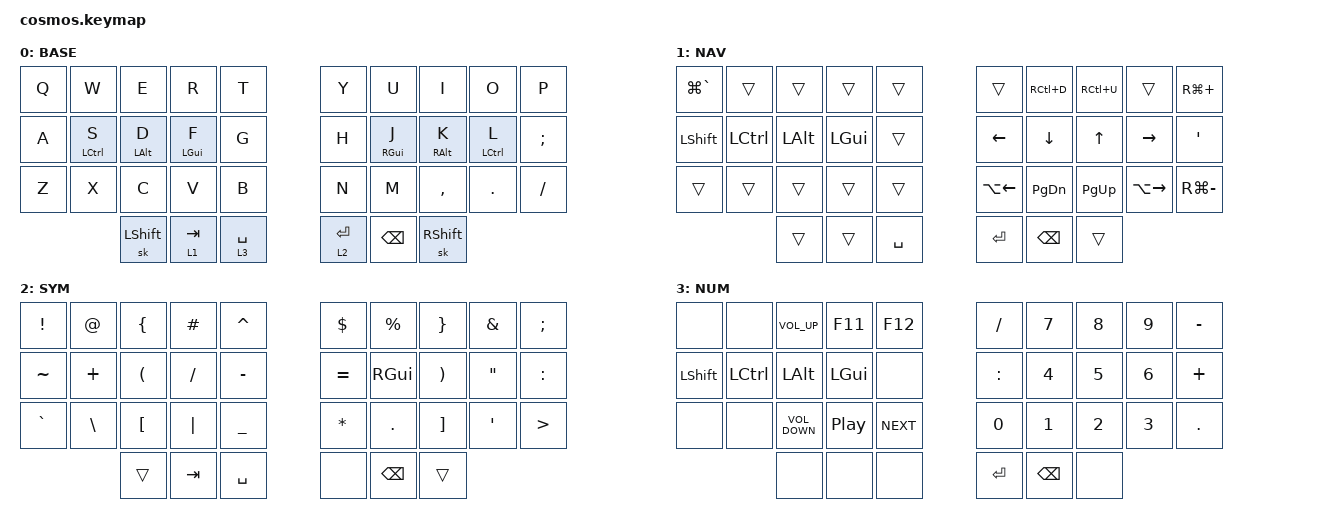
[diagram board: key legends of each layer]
#include <behaviors.dtsi>
#include <dt-bindings/zmk/bt.h>
#include <dt-bindings/zmk/keys.h>

#define BASE 0
#define NAV  1
#define SYM  2
#define ADJ  3
#define TVP1 4
#define TVP2 5

&mt {
    quick-tap-ms = <100>;
    flavor = "tap-preferred";
    tapping-term-ms = <170>;
};

&caps_word { continue-list = <UNDERSCORE BACKSPACE DELETE MINUS>; };

&sk {
    /delete-property/ ignore-modifiers;

    quick-release;
};

/ {
    combos {
        compatible = "zmk,combos";

        combo_esc {
            timeout-ms = <150>;
            key-positions = <30 31>;
            bindings = <&kp ESC>;
        };

        delete {
            bindings = <&kp ENTER>;
            key-positions = <34 35>;
            timeout-ms = <100>;
        };

        caps_word {
            bindings = <&caps_word>;
            key-positions = <30 35>;
            timeout-ms = <200>;
        };

    };

    behaviors {
        hml: homewrow_mods_left {
            compatible = "zmk,behavior-hold-tap";
            label = "HOMEROW_MODS_LEFT_HAND";
            bindings = <&kp>, <&kp>;

            #binding-cells = <2>;
            tapping-term-ms = <230>;
            hold-trigger-key-positions = <5 6 7 8 9 15 16 17 18 19 25 26 27 28 29 30 31 32 33 34 35>;
            flavor = "balanced";
            quick-tap-ms = <175>;
            require-prior-idle-ms = <150>;
            hold-trigger-on-release;
        };

        hmr: homewrow_mods_right {
            compatible = "zmk,behavior-hold-tap";
            label = "HOMEROW_MODS_RIGHT_HAND";
            bindings = <&kp>, <&kp>;

            #binding-cells = <2>;
            tapping-term-ms = <230>;
            hold-trigger-key-positions = <0 1 2 3 4 10 11 12 13 14 20 21 22 23 24 30 31 32 33 34 35>;
            flavor = "balanced";
            quick-tap-ms = <175>;
            require-prior-idle-ms = <150>;
            hold-trigger-on-release;
        };

        shortmt: shortmt {
            compatible = "zmk,behavior-hold-tap";
            label = "SHORTMT";
            bindings = <&kp>, <&kp>;

            #binding-cells = <2>;
            tapping-term-ms = <140>;
            flavor = "balanced";
            quick-tap-ms = <100>;
        };

        shortlt: shortlt {
            compatible = "zmk,behavior-hold-tap";
            label = "SHORTLT";
            bindings = <&mo>, <&kp>;

            #binding-cells = <2>;
            tapping-term-ms = <140>;
            quick-tap-ms = <100>;
            flavor = "tap-preferred";
        };
    };

    keymap {
        compatible = "zmk,keymap";
        base_layer {
            label = "BASE";
            bindings = <
                          &kp Q  &kp W         &kp E            &kp R            &kp T                    &kp Y             &kp U             &kp I            &kp O                &kp P
                          &kp A  &hml LCTRL S  &hml LEFT_ALT D  &hml LEFT_GUI F  &kp G                    &kp H             &hmr RIGHT_GUI J  &hmr RALT K      &hmr LEFT_CONTROL L  &kp SEMICOLON
                          &kp Z  &kp X         &kp C            &kp V            &kp B                    &kp N             &kp M             &kp COMMA        &kp DOT              &kp FSLH     
                                               &sk LEFT_SHIFT   &shortlt 1 TAB   &lt 3 SPACE              &shortlt 2 ENTER  &kp BACKSPACE     &sk RIGHT_SHIFT
            >;
        };

        nav_layer {
            label = "NAV";
            bindings = <
                          &kp LG(GRAVE)   &trans     &trans        &trans    &trans                       &trans              &kp RC(D)       &kp RC(U)     &trans               &kp RG(PLUS)
                          &kp LEFT_SHIFT  &kp LCTRL  &kp LEFT_ALT  &kp LGUI  &trans                       &kp LEFT_ARROW      &kp DOWN_ARROW  &kp UP_ARROW  &kp RIGHT_ARROW      &kp SINGLE_QUOTE
                          &trans          &trans     &trans        &trans    &trans                       &kp LA(LEFT_ARROW)  &kp PAGE_DOWN   &kp PAGE_UP   &kp LA(RIGHT_ARROW)  &kp RG(MINUS)   
                                                     &trans        &trans    &kp SPACE                    &kp ENTER           &kp BACKSPACE   &trans
            >;
        };

        sym_layer {
            label = "SYM";
            bindings = <
                          &kp EXCL   &kp AT         &kp LEFT_BRACE        &kp HASH     &kp CARET                &kp DOLLAR    &kp PERCENT    &kp RIGHT_BRACE        &kp AMPERSAND      &kp SEMICOLON
                          &kp TILDE  &kp PLUS       &kp LEFT_PARENTHESIS  &kp SLASH    &kp MINUS                &kp EQUAL     &kp RGUI       &kp RIGHT_PARENTHESIS  &kp DOUBLE_QUOTES  &kp COLON
                          &kp GRAVE  &kp BACKSLASH  &kp LEFT_BRACKET      &kp PIPE     &kp UNDERSCORE           &kp ASTERISK  &kp DOT        &kp RIGHT_BRACKET      &kp SINGLE_QUOTE   &kp GREATER_THAN 
                                                    &trans                &kp TAB      &kp SPACE                &none         &kp BACKSPACE  &trans
            >;
        };

        num_layer {
            label = "NUM";
            bindings = <
                          &none           &none      &kp C_VOLUME_UP    &kp F11           &kp F12               &kp SLASH     &kp N7         &kp N8        &kp N9        &kp MINUS
                          &kp LEFT_SHIFT  &kp LCTRL  &kp LEFT_ALT       &kp LEFT_GUI      &none                 &kp COLON     &kp NUMBER_4   &kp N5        &kp NUMBER_6  &kp PLUS
                          &none           &none      &kp C_VOLUME_DOWN  &kp C_PLAY_PAUSE  &kp C_NEXT            &kp N0        &kp NUMBER_1   &kp NUMBER_2  &kp NUMBER_3  &kp PERIOD
                                                     &none              &none             &none                 &kp ENTER        &kp BACKSPACE  &none
            >;
        };
    };
};
